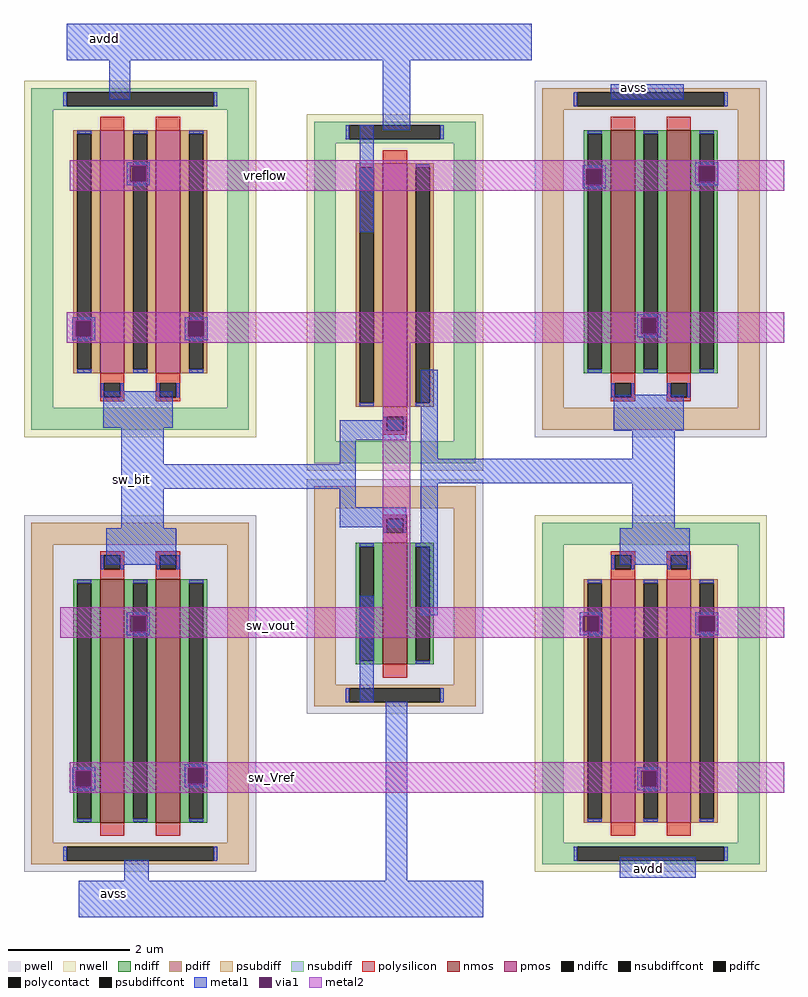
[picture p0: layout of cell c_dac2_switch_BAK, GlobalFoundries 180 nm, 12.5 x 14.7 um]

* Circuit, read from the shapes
.subckt c_dac2_switch_BAK sw_vout sw_bit avss avdd sw_Vref vreflow
XM1 sw_vout sw_bit sw_Vref avss nfet_03v3 w=4u l=0.4u m=2
XM2 CDAC_INV_V0_0/out sw_bit avss avss nfet_03v3 w=2u l=0.4u
XM3 sw_vout CDAC_INV_V0_0/out vreflow avss nfet_03v3 w=4u l=0.4u m=2
XM4 vreflow sw_bit sw_vout avdd pfet_03v3 w=4u l=0.4u m=2
XM5 CDAC_INV_V0_0/out sw_bit avdd avdd pfet_03v3 w=4u l=0.4u
XM6 sw_Vref CDAC_INV_V0_0/out sw_vout avdd pfet_03v3 w=4u l=0.4u m=2
.ends

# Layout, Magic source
magic
tech gf180mcuD
magscale 1 5
<< metal1 >>
rect 840 750 1605 810
rect 910 685 945 750
rect 1360 635 1405 750
rect 1735 685 1855 710
rect 939 576 977 582
rect 939 550 945 576
rect 971 550 977 576
rect 939 544 977 550
rect 1689 571 1727 577
rect 1689 545 1695 571
rect 1721 545 1727 571
rect 1689 539 1727 545
rect 1874 576 1912 582
rect 1874 550 1880 576
rect 1906 550 1912 576
rect 1874 544 1912 550
rect 849 321 887 327
rect 849 295 855 321
rect 881 295 887 321
rect 849 289 887 295
rect 1034 321 1072 327
rect 1034 295 1040 321
rect 1066 295 1072 321
rect 1034 289 1072 295
rect 1779 326 1817 332
rect 1779 300 1785 326
rect 1811 300 1817 326
rect 1779 294 1817 300
rect 900 145 1015 205
rect 930 85 1000 145
rect 1740 140 1855 200
rect 1770 94 1840 140
rect 930 45 1315 85
rect 1435 54 1840 94
rect 930 -20 1000 45
rect 1770 -20 1840 54
rect 905 -80 1020 -20
rect 1750 -80 1865 -20
rect 939 -164 977 -158
rect 939 -190 945 -164
rect 971 -190 977 -164
rect 939 -196 977 -190
rect 1684 -164 1722 -158
rect 1684 -190 1690 -164
rect 1716 -190 1722 -164
rect 1684 -196 1722 -190
rect 1874 -164 1912 -158
rect 1874 -190 1880 -164
rect 1906 -190 1912 -164
rect 1874 -196 1912 -190
rect 849 -419 887 -413
rect 849 -445 855 -419
rect 881 -445 887 -419
rect 849 -451 887 -445
rect 1034 -414 1072 -408
rect 1034 -440 1040 -414
rect 1066 -440 1072 -414
rect 1034 -446 1072 -440
rect 935 -600 975 -565
rect 1365 -600 1400 -305
rect 1779 -419 1817 -413
rect 1779 -445 1785 -419
rect 1811 -445 1817 -419
rect 1779 -451 1817 -445
rect 1750 -595 1875 -560
rect 860 -660 1525 -600
<< via1 >>
rect 945 550 971 576
rect 1695 545 1721 571
rect 1880 550 1906 576
rect 855 295 881 321
rect 1040 295 1066 321
rect 1785 300 1811 326
rect 945 -190 971 -164
rect 1690 -190 1716 -164
rect 1880 -190 1906 -164
rect 855 -445 881 -419
rect 1040 -440 1066 -414
rect 1785 -445 1811 -419
<< metal2 >>
rect 845 576 2020 585
rect 845 550 945 576
rect 971 571 1880 576
rect 971 550 1695 571
rect 845 545 1695 550
rect 1721 550 1880 571
rect 1906 550 2020 576
rect 1721 545 2020 550
rect 845 535 2020 545
rect 840 326 2020 335
rect 840 321 1785 326
rect 840 295 855 321
rect 881 295 1040 321
rect 1066 300 1785 321
rect 1811 300 2020 326
rect 1066 295 2020 300
rect 840 285 2020 295
rect 1360 -150 1405 285
rect 830 -164 2020 -150
rect 830 -190 945 -164
rect 971 -190 1690 -164
rect 1716 -190 1880 -164
rect 1906 -190 2020 -164
rect 830 -200 2020 -190
rect 845 -414 2020 -405
rect 845 -419 1040 -414
rect 845 -445 855 -419
rect 881 -440 1040 -419
rect 1066 -419 2020 -414
rect 1066 -440 1785 -419
rect 881 -445 1785 -440
rect 1811 -445 2020 -419
rect 845 -455 2020 -445
use CDAC_INV_V0  CDAC_INV_V0_0
transform 1 0 755 0 1 115
box 480 -440 770 546
use nfet_03v3_QETW5R  nfet_03v3_QETW5R_0
transform 1 0 1801 0 -1 423
box -191 -293 191 293
use pfet_03v3_YXQA8C  pfet_03v3_YXQA8C_0
transform 1 0 1801 0 -1 -292
box -191 -293 191 293
use nfet_03v3_QETW5R  XM1
transform 1 0 961 0 1 -292
box -191 -293 191 293
use pfet_03v3_YXQA8C  XM4
transform 1 0 961 0 1 423
box -191 -293 191 293
<< labels >>
rlabel metal1 900 775 905 795 7 avdd
port 3 w
rlabel metal1 945 50 950 70 7 sw_bit
port 1 w
rlabel metal1 915 -630 920 -610 7 avss
port 2 w
rlabel metal1 1795 -590 1800 -570 7 avdd
rlabel space 1770 695 1775 715 7 avss
rlabel metal2 1165 550 1170 570 7 vreflow
port 5 w
rlabel metal2 1175 -190 1180 -170 7 sw_vout
port 0 w
rlabel metal2 1175 -440 1180 -420 7 sw_Vref
port 4 w
<< end >>

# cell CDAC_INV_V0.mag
magic
tech gf180mcuD
magscale 1 10
<< metal1 >>
rect 1135 704 1181 1055
rect 1069 20 1288 85
rect 1069 -201 1121 20
rect 1068 -266 1287 -201
rect 1135 -843 1181 -492
rect 1335 -556 1391 251
use nfet_03v3_Q7US5R  XM3
transform 1 0 1250 0 1 -494
box -290 -386 290 386
use pfet_03v3_YXHA8C  XM4
transform 1 0 1250 0 1 506
box -290 -586 290 586
<< labels >>
rlabel metal1 1139 954 1139 965 1 avdd
port 0 n
rlabel metal1 1076 -114 1076 -103 1 in
port 1 n
rlabel metal1 1339 -120 1339 -109 7 out
port 2 w
rlabel metal1 1147 -766 1147 -755 7 avss
port 3 w
<< end >>

# cell nfet_03v3_QETW5R: kit device nfet_03v3, w 4.0 l 0.4 m 1 nf 2 diffcov 100 polycov 100 guard 1 glc 0 grc 0 gtc 0 gbc 1 tbcov 100 rlcov 100 topc 1 botc 0 poverlap 0 doverlap 1 lmin 0.28 wmin 0.22 class mosfet full_metal 0 compatible {nfet_03v3 nfet_06v0 nfet_06v0_nvt}

# cell pfet_03v3_YXQA8C: kit device pfet_03v3, w 4.0 l 0.4 m 1 nf 2 diffcov 100 polycov 100 guard 1 glc 0 grc 0 gtc 1 gbc 0 tbcov 100 rlcov 100 topc 0 botc 1 poverlap 0 doverlap 1 lmin 0.28 wmin 0.22 class mosfet full_metal 0 compatible {pfet_03v3 pfet_06v0}

# cell nfet_03v3_Q7US5R: kit device nfet_03v3, w 2.0 l 0.4 m 1 nf 1 diffcov 100 polycov 100 guard 1 glc 0 grc 0 gtc 0 gbc 1 tbcov 100 rlcov 100 topc 1 botc 0 poverlap 0 doverlap 1 lmin 0.28 wmin 0.22 class mosfet full_metal 0 compatible {nfet_03v3 nfet_06v0 nfet_06v0_nvt}

# cell pfet_03v3_YXHA8C: kit device pfet_03v3, w 4.0 l 0.4 m 1 nf 1 diffcov 100 polycov 100 guard 1 glc 0 grc 0 gtc 1 gbc 0 tbcov 100 rlcov 100 topc 0 botc 1 poverlap 0 doverlap 1 lmin 0.28 wmin 0.22 class mosfet full_metal 0 compatible {pfet_03v3 pfet_06v0}
